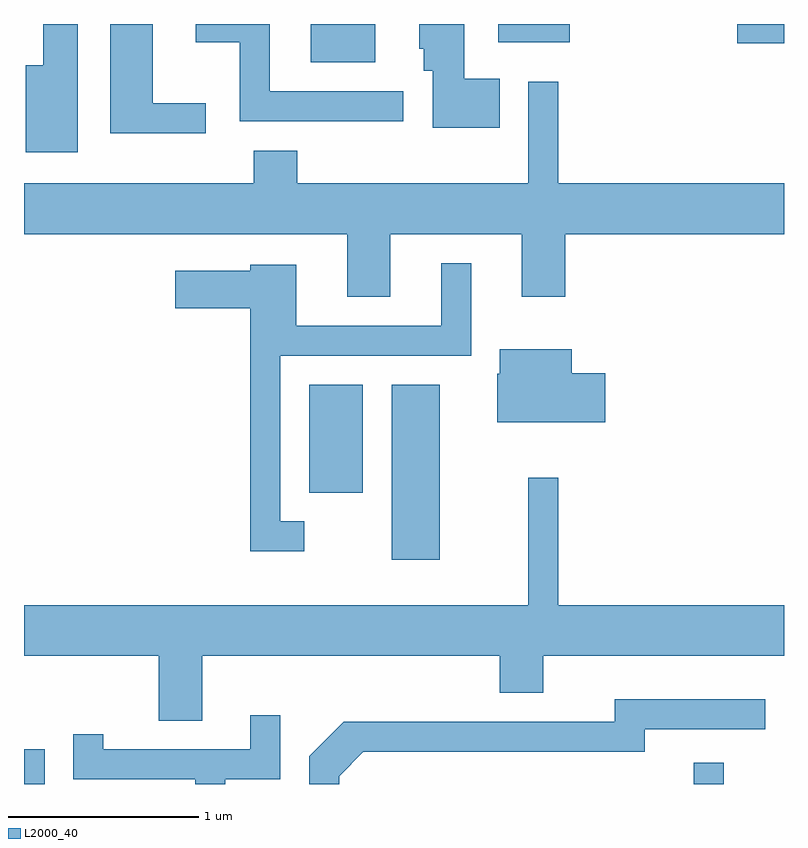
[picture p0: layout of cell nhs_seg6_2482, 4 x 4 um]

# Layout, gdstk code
import gdstk
lib = gdstk.Library(unit=1e-6, precision=1e-09)
def R(c, l, rs):  # rectangles x0, y0, x1, y1
    for r in rs: c.add(gdstk.rectangle(r[:2], r[2:], *l))
def P(c, l, *ps):  # polygons
    for p in ps: c.add(gdstk.Polygon(p, *l))
L2000_40 = (2000, 40)

nhs_seg6_2482 = lib.new_cell('nhs_seg6_2482')
R(nhs_seg6_2482, L2000_40, [(259.611,1638.162,259.719,1638.344), (263.136,1638.162,263.294,1638.273), (261.546,1639.341,261.799,1640.264), (261.111,1639.696,261.394,1640.264), (261.121,1641.961,261.459,1642.162), (263.366,1642.061,263.611,1642.162), (262.106,1642.066,262.484,1642.162)])
P(nhs_seg6_2482, L2000_40, [(259.894,1642.162),(259.711,1642.162),(259.711,1641.944),(259.621,1641.944),(259.621,1641.486),(259.894,1641.486)],
  [(261.608,1641.809),(260.904,1641.809),(260.904,1642.162),(260.516,1642.162),(260.516,1642.066),(260.746,1642.066),(260.746,1641.651),(261.608,1641.651)],
  [(260.568,1641.744),(260.289,1641.744),(260.289,1642.162),(260.066,1642.162),(260.066,1641.586),(260.568,1641.586)],
  [(262.114,1641.874),(261.929,1641.874),(261.929,1642.162),(261.691,1642.162),(261.691,1642.031),(261.716,1642.031),(261.716,1641.916),(261.761,1641.916),(261.761,1641.616),(262.114,1641.616)],
  [(261.539,1641.056),(262.231,1641.056),(262.231,1640.726),(262.459,1640.726),(262.459,1641.056),(263.611,1641.056),(263.611,1641.324),(262.424,1641.324),(262.424,1641.858),(262.266,1641.858),(262.266,1641.324),(261.049,1641.324),(261.049,1641.494),(260.821,1641.494),(260.821,1641.324),(259.611,1641.324),(259.611,1641.056),(261.311,1641.056),(261.311,1640.726),(261.539,1640.726)],
  [(261.087,1639.544),(260.959,1639.544),(260.959,1640.416),(261.964,1640.416),(261.964,1640.903),(261.806,1640.903),(261.806,1640.574),(261.044,1640.574),(261.044,1640.894),(260.801,1640.894),(260.801,1640.864),(260.406,1640.864),(260.406,1640.666),(260.801,1640.666),(260.801,1639.386),(261.087,1639.386)],
  [(262.669,1640.324),(262.494,1640.324),(262.494,1640.449),(262.116,1640.449),(262.116,1640.32),(262.101,1640.32),(262.101,1640.066),(262.669,1640.066)],
  [(260.549,1638.836),(262.116,1638.836),(262.116,1638.641),(262.344,1638.641),(262.344,1638.836),(263.611,1638.836),(263.611,1639.104),(262.424,1639.104),(262.424,1639.773),(262.266,1639.773),(262.266,1639.104),(259.611,1639.104),(259.611,1638.836),(260.321,1638.836),(260.321,1638.496),(260.549,1638.496)],
  [(261.269,1638.204),(261.397,1638.331),(262.879,1638.331),(262.879,1638.451),(263.513,1638.451),(263.513,1638.609),(262.721,1638.609),(262.721,1638.489),(261.294,1638.489),(261.111,1638.307),(261.111,1638.162),(261.269,1638.162)],
  [(260.669,1638.186),(260.959,1638.186),(260.959,1638.523),(260.801,1638.523),(260.801,1638.344),(260.029,1638.344),(260.029,1638.423),(259.871,1638.423),(259.871,1638.186),(260.511,1638.186),(260.511,1638.162),(260.669,1638.162)])

lib.write_gds('nhs_seg6_2482.gds')
